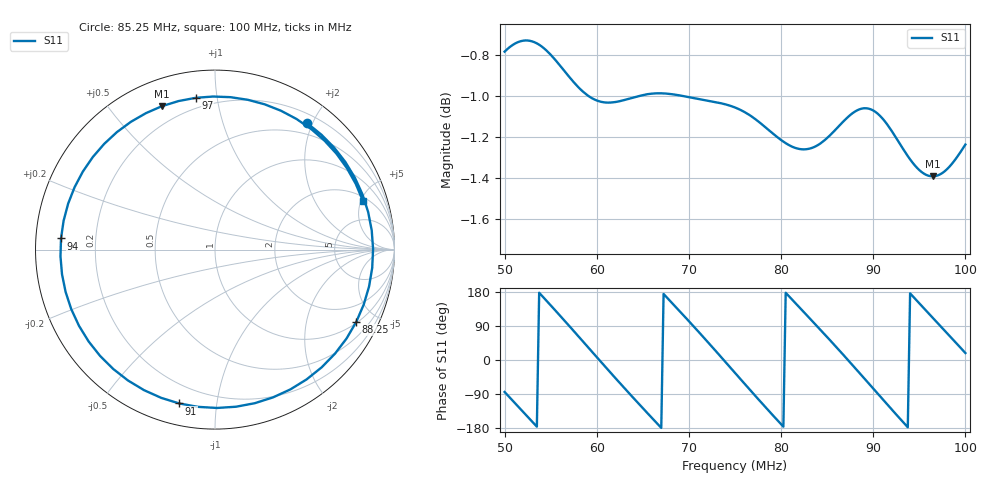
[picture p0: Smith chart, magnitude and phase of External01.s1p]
!Agilent Technologies,E5072A,MY51200456,A.01.06
!Date: Mon Aug 31 08:10:39 2015
!Data & Calibration Information:
!Freq	S11:SOLT1(ON)
!PortZ  Port1:50+j0
!Above PortZ is port z conversion or system Z0 setting when saving the data.
!When reading, reference impedance value at option line is always used.
# Hz S dB R 50
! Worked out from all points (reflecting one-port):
!   201 points, 50 MHz to 100 MHz, reference 50 ohm
!   lowest |S11| = -1.4 dB at 96.5 MHz (marker M1), VSWR 12.52, Z = 5.92 + j34.5 ohm
!   phase of S11 starts at -84 deg and turns -1337 deg over the sweep
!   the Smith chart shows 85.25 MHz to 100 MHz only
!   S11 on the Smith chart (normalised r, x): 85.25 MHz: 0.33, +1.92; 88.25 MHz: 1.05, -3.87; 91 MHz: 0.10, -0.79; 94 MHz: 0.08, +0.04; 97 MHz: 0.14, +0.87; 100 MHz: 2.34, +5.16
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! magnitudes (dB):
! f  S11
! 50 MHz  -0.8
! 51.5 MHz  -0.7
! 53 MHz  -0.7
! 54.5 MHz  -0.8
! 56.25 MHz  -0.9
! 58 MHz  -1.0
! 59.5 MHz  -1.0
! 61 MHz  -1.0
! 62.5 MHz  -1.0
! 66 MHz  -1.0
! 68.75 MHz  -1.0
! 75 MHz  -1.1
! 76.75 MHz  -1.1
! 81.25 MHz  -1.2
! 82.25 MHz  -1.3
! 83.25 MHz  -1.3
! 85.25 MHz  -1.2
! 87.5 MHz  -1.1
! 88.25 MHz  -1.1
! 89.5 MHz  -1.1
! 91 MHz  -1.1
! 93.75 MHz  -1.3
! 94 MHz  -1.3
! 95.25 MHz  -1.4
! 96.5 MHz  -1.4
! 97 MHz  -1.4
! 98.25 MHz  -1.3
! 100 MHz  -1.2
